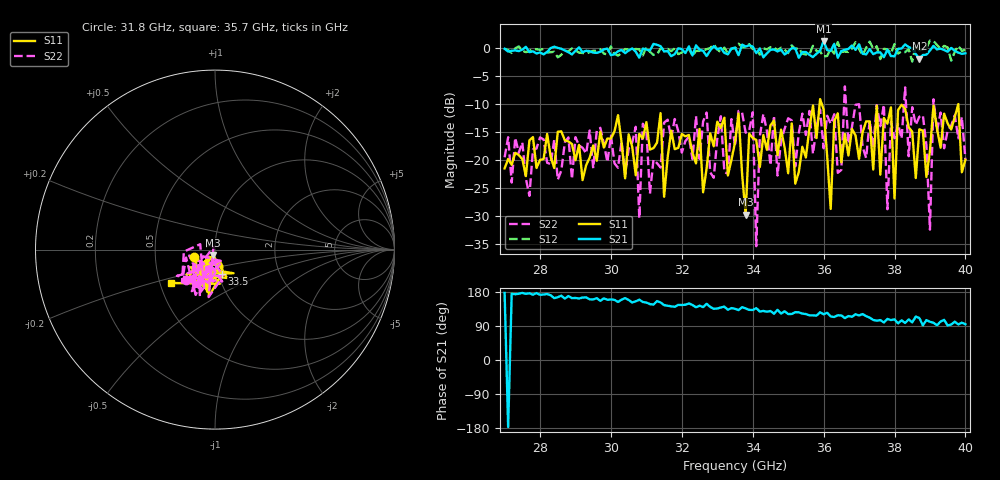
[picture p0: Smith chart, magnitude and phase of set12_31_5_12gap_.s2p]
! Quiescent point : V1=-1.66492E-02 I1=+1.28215E-03 V2=-2.23970E-02 I2=-1.27151E-03
! Pulsed point : V1=-1.61527E-02 I1=+1.27042E-03 V2=-2.20922E-02 I2=-1.25758E-03
! Period : +2.00000E-04
! Input Supply timing : delay=+1.60000E-06 width=+2.20000E-06
! Output Supply timing : delay=+1.70000E-06 width=+2.00000E-06
! VNA timing : delay=+2.40000E-06 width=+1.10000E-06
# Hz S RI R 50
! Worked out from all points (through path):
!   131 points, 27 GHz to 40 GHz, reference 50 ohm
!   highest |S21| = 1.25 dB at 36 GHz (marker M1); lowest = -1.9 dB at 38.7 GHz (marker M2)
!   group delay of S21, straight-line fit = 18.1 ps
!   lowest |S11| = -29.7 dB at 33.8 GHz (marker M3), VSWR 1.07, Z = 48.8 - j2.97 ohm
!   |S11| at or under -10 dB: start of sweep to 35.89 GHz; 35.95 GHz to end of sweep
!   |S22| runs from -35.4 to -6.9 dB; largest |S21 - S12| = 0.38
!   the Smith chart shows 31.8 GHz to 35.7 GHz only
!   S11 on the Smith chart (normalised r, x): 31.8 GHz: 0.79, -0.06; 33.5 GHz: 1.04, -0.29; 35.7 GHz: 0.57, -0.24
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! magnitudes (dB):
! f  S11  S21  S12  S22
! 27 GHz  -21.5  -0.1  -0.1  -19.5
! 29.2 GHz  -23.6  -0.8  -0.9  -17.8
! 31.4 GHz  -11.6  0.3  -0.1  -21.3
! 31.8 GHz  -18.1  -1.1  -0.1  -12.7
! 33.5 GHz  -16.9  0.1  -0.1  -17.6
! 33.8 GHz  -29.7  0.3  0.1  -15.1
! 34 GHz  -16.1  0.3  -0.2  -11.5
! 34.1 GHz  -16.4  -0.9  -0.2  -35.4
! 34.3 GHz  -15.5  -1.7  0.0  -11.8
! 35.7 GHz  -10.3  -1.6  0.4  -18.9
! 36 GHz  -10.9  1.3  -1.6  -17.9
! 36.2 GHz  -28.7  -0.5  -0.2  -13.5
! 36.4 GHz  -11.7  -1.7  1.1  -22.3
! 37.7 GHz  -12.5  -1.6  -0.1  -10.1
! 37.8 GHz  -13.5  -0.3  -0.2  -28.8
! 37.9 GHz  -10.6  -1.4  -1.0  -13.2
! 38 GHz  -26.9  -1.5  0.7  -16.1
! 38.1 GHz  -11.1  -0.2  -1.0  -13.5
! 38.7 GHz  -14.5  -1.9  -0.4  -12.3
! 39 GHz  -18.4  -0.5  1.3  -32.4
! 39.1 GHz  -10.3  0.4  1.3  -9.2
! 40 GHz  -20.0  -0.9  -0.3  -19.8
